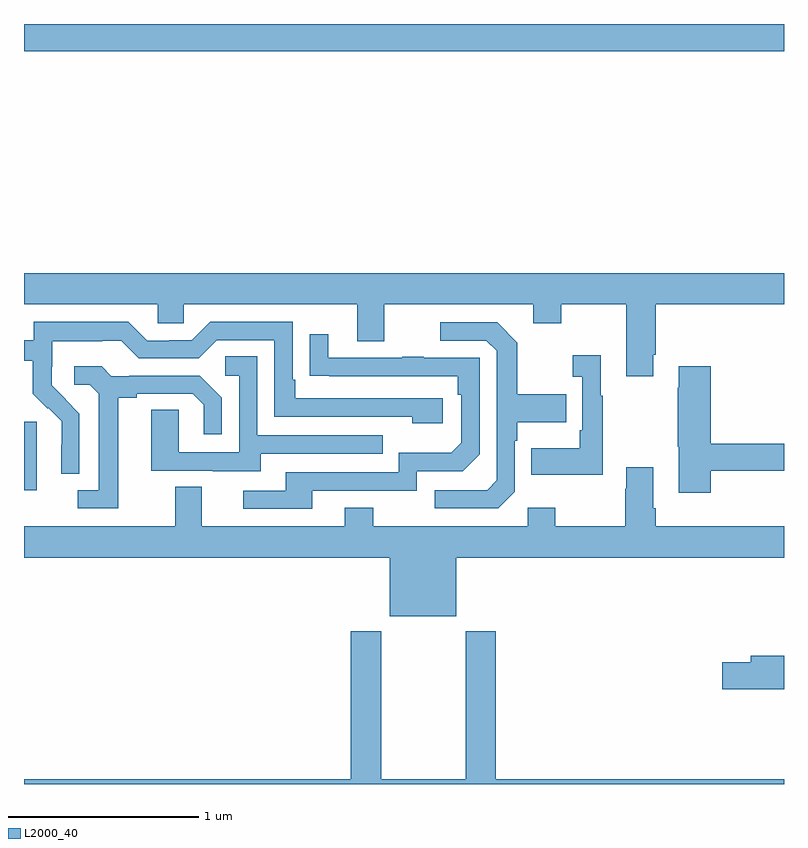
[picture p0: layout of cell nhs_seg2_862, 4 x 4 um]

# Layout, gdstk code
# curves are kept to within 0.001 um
import gdstk
lib = gdstk.Library(unit=1e-6, precision=1e-09)
def R(c, l, rs):  # rectangles x0, y0, x1, y1
    for r in rs: c.add(gdstk.rectangle(r[:2], r[2:], *l))
def P(c, l, *ps):  # polygons
    for p in ps: c.add(gdstk.Polygon(p, *l))
L2000_40 = (2000, 40)

nhs_seg2_862 = lib.new_cell('nhs_seg2_862')
R(nhs_seg2_862, L2000_40, [(155,625.346,155.068,625.707), (155,627.656,159,627.8)])
P(nhs_seg2_862, L2000_40, [(158.311,626.059),(158.324,626.059),(158.324,626.324),(159,626.324),(159,626.488),(155,626.488),(155,626.324),(155.703,626.324),(155.703,626.226),(155.841,626.226),(155.841,626.324),(156.755,626.324),(156.755,626.13),(156.895,626.13),(156.895,626.324),(157.679,626.324),(157.679,626.225),(157.827,626.225),(157.827,626.324),(158.171,626.324),(158.171,625.947),(158.311,625.947)],
  [(155.292,625.75),(155.146,625.898),(155.146,625.995),(155.148,625.995),(155.148,626.129),(155.411,626.129),(155.411,626.133),(155.511,626.133),(155.604,626.04),(155.919,626.04),(156.015,626.136),(156.318,626.136),(156.318,625.734),(157.043,625.734),(157.043,625.7),(157.204,625.7),(157.204,625.83),(156.427,625.83),(156.427,625.927),(156.414,625.927),(156.414,626.232),(155.979,626.232),(155.883,626.136),(155.765,626.136),(155.765,626.133),(155.649,626.133),(155.549,626.233),(155.052,626.233),(155.052,626.136),(155,626.136),(155,626.028),(155.047,626.028),(155.047,625.853),(155.124,625.776),(155.127,625.779),(155.198,625.709),(155.198,625.586),(155.196,625.586),(155.196,625.432),(155.292,625.432)],
  [(157.584,625.338),(157.584,625.607),(157.597,625.607),(157.597,625.703),(157.853,625.703),(157.853,625.851),(157.597,625.851),(157.597,626.123),(157.491,626.229),(157.191,626.229),(157.191,626.133),(157.434,626.133),(157.488,626.079),(157.488,625.398),(157.437,625.347),(157.161,625.347),(157.161,625.251),(157.497,625.251)],
  [(156.517,625.344),(157.068,625.344),(157.068,625.446),(157.308,625.446),(157.398,625.536),(157.398,626.043),(157.103,626.043),(157.103,626.048),(156.991,626.048),(156.991,626.043),(156.601,626.043),(156.601,626.167),(156.505,626.167),(156.505,625.948),(157.282,625.947),(157.282,625.85),(157.302,625.85),(157.302,625.596),(157.249,625.543),(156.972,625.543),(156.972,625.44),(156.377,625.44),(156.377,625.344),(156.153,625.344),(156.153,625.248),(156.517,625.248)],
  [(158.047,625.843),(158.035,625.843),(158.035,626.056),(157.887,626.056),(157.887,625.943),(157.938,625.943),(157.938,625.663),(157.926,625.663),(157.926,625.567),(157.669,625.567),(157.669,625.427),(158.047,625.427)],
  [(156.247,625.539),(156.887,625.539),(156.887,625.635),(156.228,625.635),(156.228,626.051),(156.06,626.051),(156.06,625.95),(156.132,625.95),(156.132,625.545),(155.814,625.545),(155.814,625.769),(155.669,625.769),(155.669,625.449),(155.993,625.449),(155.993,625.445),(156.247,625.445)],
  [(158.615,625.45),(159,625.45),(159,625.592),(158.615,625.592),(158.615,625.999),(158.447,625.999),(158.447,625.886),(158.44,625.886),(158.44,625.575),(158.447,625.575),(158.447,625.332),(158.615,625.332)],
  [(155.497,625.832),(155.593,625.832),(155.593,625.854),(155.888,625.854),(155.945,625.797),(155.945,625.641),(156.042,625.641),(156.042,625.834),(155.926,625.95),(155.554,625.95),(155.554,625.947),(155.46,625.947),(155.408,625.999),(155.265,625.999),(155.265,625.902),(155.346,625.902),(155.393,625.855),(155.393,625.347),(155.283,625.347),(155.283,625.251),(155.497,625.251)],
  [(157.276,624.992),(159,624.992),(159,625.156),(158.324,625.156),(158.324,625.252),(158.311,625.252),(158.311,625.468),(158.171,625.468),(158.171,625.355),(158.164,625.355),(158.164,625.156),(157.797,625.156),(157.797,625.255),(157.65,625.255),(157.65,625.156),(156.837,625.156),(156.837,625.255),(156.689,625.255),(156.689,625.156),(155.935,625.156),(155.935,625.364),(155.795,625.364),(155.795,625.156),(155,625.156),(155,624.992),(156.926,624.992),(156.926,624.683),(157.276,624.683)],
  [(159,623.824),(157.484,623.824),(157.484,624.604),(157.324,624.604),(157.324,623.824),(156.879,623.824),(156.879,624.604),(156.719,624.604),(156.719,623.824),(155,623.824),(155,623.8),(159,623.8)],
  [(159,624.476),(158.825,624.476),(158.825,624.44),(158.676,624.44),(158.676,624.298),(159,624.298)])

lib.write_gds('nhs_seg2_862.gds')
